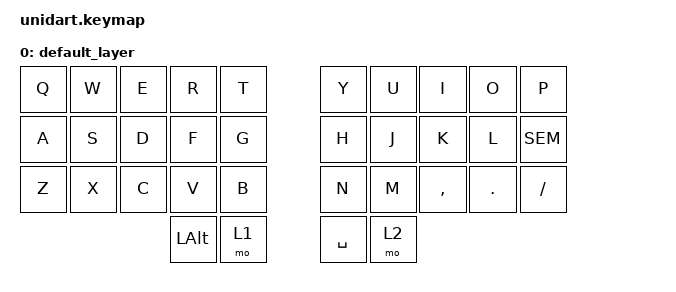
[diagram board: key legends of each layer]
/*
 * Copyright (c) 2020 The ZMK Contributors
 *
 * SPDX-License-Identifier: MIT
 */

#include <behaviors.dtsi>
#include <dt-bindings/zmk/keys.h>
#include <dt-bindings/zmk/bt.h>
#include <dt-bindings/zmk/rgb.h>

/ {
        keymap {
                compatible = "zmk,keymap";

                default_layer {
                        bindings = <
   &kp Q &kp W &kp E &kp R &kp T   &kp Y &kp U  &kp I     &kp O   &kp P
   &kp A &kp S &kp D &kp F &kp G   &kp H &kp J  &kp K     &kp L   &kp SEM
   &kp Z &kp X &kp C &kp V &kp B   &kp N &kp M  &kp COMMA &kp DOT &kp FSLH
                        &kp LALT  &mo 1 &kp SPACE &mo 2
                        >;
                };
        };
};
